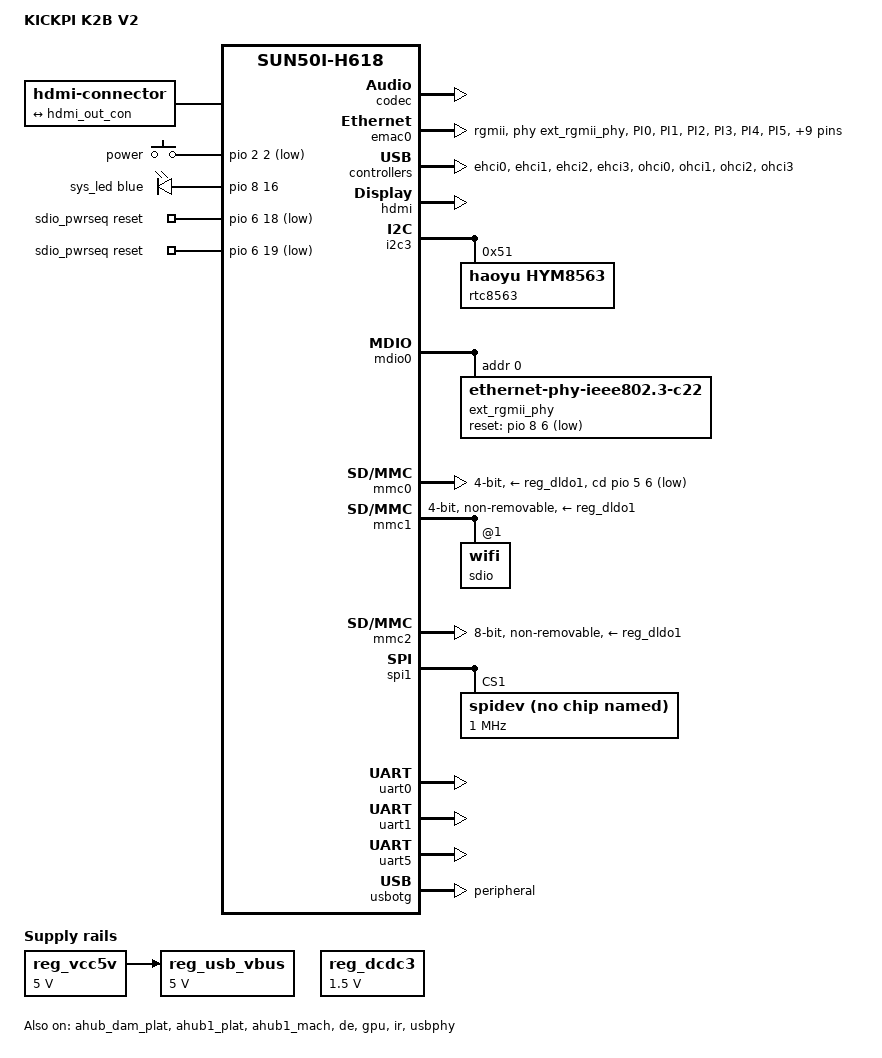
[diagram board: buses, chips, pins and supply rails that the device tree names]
// SPDX-License-Identifier: (GPL-2.0+ OR MIT)
/*
 * Copyright (C) 2020 Arm Ltd.
 */

/dts-v1/;

#include "sun50i-h616.dtsi"
#include "sun50i-h616-cpu-opp.dtsi"
#include "sun50i-h616-gpu-opp.dtsi"

#include <dt-bindings/gpio/gpio.h>
#include <dt-bindings/interrupt-controller/arm-gic.h>
#include <dt-bindings/input/linux-event-codes.h>
#include <dt-bindings/leds/common.h>

/ {
	model = "KICKPI K2B V2";
	compatible = "kickpi,kickpi-k2b-v2", "allwinner,sun50i-h618";

	aliases {
		ethernet0 = &emac0;
		i2c1 = &i2c1;
		i2c2 = &i2c2;
		i2c3 = &i2c3;
		i2c4 = &i2c4;
		serial0 = &uart0;
		serial1 = &uart1;
		serial2 = &uart2;
		serial5 = &uart5;
	};

	chosen {
		stdout-path = "serial0:115200n8";
		kaslr-seed = <0xfeedbeef 0xc0def00d>;
	};

	connector {
		compatible = "hdmi-connector";
		type = "d";

		port {
			hdmi_con_in: endpoint {
				remote-endpoint = <&hdmi_out_con>;
			};
		};
	};

	gpio-keys-polled {
		compatible = "gpio-keys-polled";
		poll-interval = <100>;

		button-power {
			label = "power";
			linux,code = <KEY_POWER>;
			gpios = <&pio 2 2 GPIO_ACTIVE_LOW>; /* PC2 */
		};
	};

	leds {
		compatible = "gpio-leds";

		led-0 {
			label = "sys_led";
			color = <LED_COLOR_ID_BLUE>;
			function = LED_FUNCTION_STATUS;
			gpios = <&pio 8 16 GPIO_ACTIVE_HIGH>; /* PI16 */
			linux,default-trigger = "heartbeat";
		};
	};

	reg_usb_vbus: regulator-usb-vbus {
		/* Separate discrete regulator for the USB ports */
		compatible = "regulator-fixed";
		regulator-min-microvolt = <5000000>;
		regulator-max-microvolt = <5000000>;
		regulator-name = "usb-vbus";
		vin-supply = <&reg_vcc5v>;
	};

	reg_vcc5v: regulator-vcc5v {
		/* Board wide 5V supply directly from the USB-C socket */
		compatible = "regulator-fixed";
		regulator-always-on;
		regulator-min-microvolt = <5000000>;
		regulator-max-microvolt = <5000000>;
		regulator-name = "vcc-5v";
	};

	sdio_pwrseq: sdio-pwrseq {
		compatible = "mmc-pwrseq-simple";
		post-power-on-delay-ms = <200>;
		power-off-delay-us = <5000000>;
		reset-gpios = <&pio 6 18 GPIO_ACTIVE_LOW>, /* PG18 WiFi EN */
			      <&pio 6 19 GPIO_ACTIVE_LOW>; /* PG19 BT EN */
	};
};

&ahub_dam_plat {
	status = "okay";
};

&ahub1_plat {
	status = "okay";
};

&ahub1_mach {
	status = "okay";
};

&codec {
	status = "okay";
	allwinner,audio-routing = "Line Out", "LINEOUT";
};

&cpu0 {
	cpu-supply = <&reg_dcdc2>;
};

&de {
	status = "okay";
};

&emac0 {
	status = "okay";
	pinctrl-0 = <&ext_rgmii_pins>;
	pinctrl-names = "default";
	phy-mode = "rgmii";
	phy-handle = <&ext_rgmii_phy>;
	allwinner,tx-delay-ps = <700>;
	allwinner,rx-delay-ps = <2000>;
};

&ehci0 {
	status = "okay";
};

&ehci1 {
	status = "okay";
};

&ehci2 {
	status = "okay";
};

&ehci3 {
	status = "okay";
};

&gpu {
	status = "okay";
	mali-supply = <&reg_dcdc1>;
};

&hdmi {
	status = "okay";
};

&hdmi_out {
	hdmi_out_con: endpoint {
		remote-endpoint = <&hdmi_con_in>;
	};
};

&i2c1 {
	status = "disabled";
	pinctrl-0 = <&i2c1_ph_pins>;
	pinctrl-names = "default";
};

&i2c2 {
	status = "disabled";
	pinctrl-0 = <&i2c2_ph_pins>;
	pinctrl-names = "default";
};

&i2c3 {
	status = "okay";
	pinctrl-0 = <&i2c3_ph_pins>;
	pinctrl-names = "default";

	rtc8563: rtc@51 {
    compatible = "haoyu,hym8563";
    reg = <0x51>;
    status = "okay";
	#clock-cells = <0>;
    };
};

&i2c4 {
	status = "disabled";
	pinctrl-0 = <&i2c4_ph_pins>;
	pinctrl-names = "default";
};

&ir {
	status = "okay";
	pinctrl-0 = <&ir_rx_pin>;
	pinctrl-names = "default";
};

&mdio0 {
	ext_rgmii_phy: ethernet-phy@0 {
		compatible = "ethernet-phy-ieee802.3-c22";
		reg = <0x0>;
		reset-assert-us = <20000>;
		reset-deassert-us = <100000>;
		reset-gpios = <&pio 8 6 GPIO_ACTIVE_LOW>; /* PI6, active-low nRST */
	};
};

/* SD card */
&mmc0 {
	status = "okay";
	bus-width = <4>;
	cd-gpios = <&pio 5 6 GPIO_ACTIVE_HIGH>;	/* PF6 */
	cd-inverted;
	disable-wp;
	max-frequency = <50000000>;
	vmmc-supply = <&reg_dldo1>;
};

/* SDIO */
&mmc1 {
	status = "okay";
	bus-width = <4>;
	keep-power-in-suspend;
	max-frequency = <100000000>;
	mmc-pwrseq = <&sdio_pwrseq>;
	no-mmc;
	no-sd;
	non-removable;
	vmmc-supply = <&reg_dldo1>;
	vqmmc-supply = <&reg_aldo1>;

	sdio: wifi@1 {
		reg = <1>;
	};
};

/* eMMC */
&mmc2 {
	status = "okay";
	bus-width = <8>;
	cap-mmc-hw-reset;
	mmc-hs200-1_8v;
	non-removable;
	vmmc-supply = <&reg_dldo1>;
	vqmmc-supply = <&reg_aldo1>;
};

&ohci0 {
	status = "okay";
};

&ohci1 {
	status = "okay";
};

&ohci2 {
	status = "okay";
};

&ohci3 {
	status = "okay";
};

&pio {
	vcc-pc-supply = <&reg_dldo1>;
	vcc-pf-supply = <&reg_dldo1>;
	vcc-pg-supply = <&reg_aldo1>;
	vcc-ph-supply = <&reg_dldo1>;
	vcc-pi-supply = <&reg_dldo1>;
	vcc-pl-supply = <&reg_aldo1>;

	/* PI16 required for sys_led */
	ext_rgmii_pins: rgmii-pins {
		pins = "PI0", "PI1", "PI2", "PI3", "PI4",
		       "PI5", "PI7", "PI8", "PI9", "PI10",
		       "PI11", "PI12", "PI13", "PI14", "PI15";
		function = "emac0";
		drive-strength = <40>;
	};

	/* Add I2C PH Pins */
	i2c1_ph_pins: i2c1-ph-pins {
		pins = "PH0", "PH1";
		function = "i2c1";
	};

	i2c2_ph_pins: i2c2-ph-pins {
		pins = "PH2", "PH3";
		function = "i2c2";
	};

	i2c4_ph_pins: i2c4-ph-pins {
		pins = "PH6", "PH7";
		function = "i2c4";
	};

	/* PC0 required for spi0 */
	mmc2_pins: mmc2-pins {
		pins = "PC1", "PC5", "PC6",
		       "PC8", "PC9", "PC10", "PC11",
		       "PC13", "PC14", "PC15", "PC16";
		function = "mmc2";
		drive-strength = <30>;
		bias-pull-up;
	};
};

#include "axp313a.dtsi"

&spi1 {
	status = "okay";
	pinctrl-0 = <&spi1_pins>, <&spi1_cs1_pin>;
	pinctrl-names = "default";

	spidev@1 {
		compatible = "rohm,dh2228fv";
		reg = <1>;
		spi-max-frequency = <1000000>;
	};
};

&uart0 {
	status = "okay";
	pinctrl-0 = <&uart0_ph_pins>;
	pinctrl-names = "default";
};

/* Bluetooth */
&uart1 {
	status = "okay";
	pinctrl-0 = <&uart1_pins>, <&uart1_rts_cts_pins>;
	pinctrl-names = "default";
	uart-has-rtscts;
};

&uart2 {
	status = "disabled";
	pinctrl-names = "default";
	pinctrl-0 = <&uart2_ph_pins>;
};

&uart5 {
	status = "okay";
	pinctrl-names = "default";
	pinctrl-0 = <&uart5_pins>;
};

&usbotg {
	status = "okay";
	dr_mode = "peripheral";
};

&usbphy {
	status = "okay";
	usb1_vbus-supply = <&reg_usb_vbus>;
};


&reg_dcdc3 {
    regulator-min-microvolt = <1500000>;
    regulator-max-microvolt = <1500000>;
};


